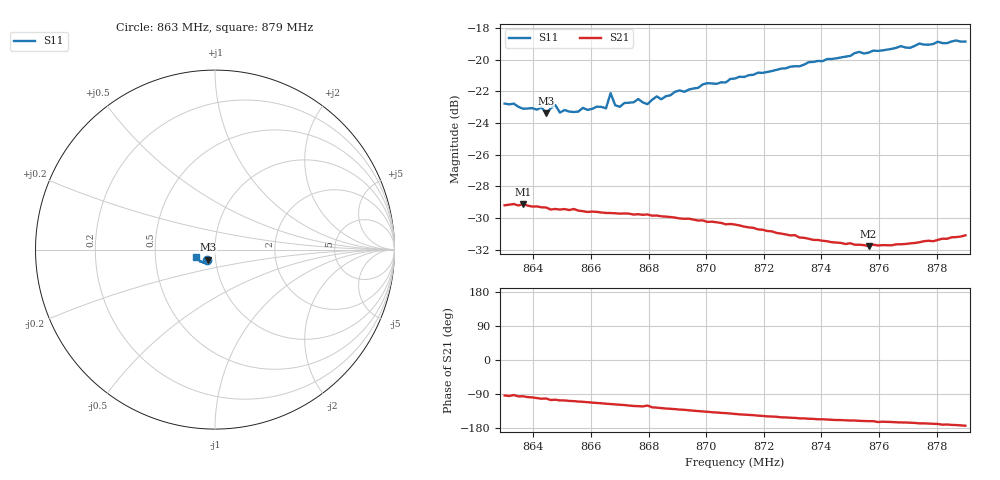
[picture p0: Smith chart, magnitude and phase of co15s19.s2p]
# HZ S RI R 50
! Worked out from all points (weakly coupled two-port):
!   101 points, 863 MHz to 879 MHz, reference 50 ohm
!   highest |S21| = -29.11 dB at 863.64 MHz (marker M1); lowest = -31.8 dB at 875.64 MHz (marker M2)
!   lowest |S11| = -23.4 dB at 864.44 MHz (marker M3), VSWR 1.15, Z = 46 - j5.16 ohm
!   |S11| at or under -10 dB: start of sweep to end of sweep
!   S12 and S22 are empty: the file has one direction only
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8.63e8  -0.0459 -0.0563  -0.00217 -0.0346  0 0  0 0
8.6364e8  -0.0406 -0.057  -0.00346 -0.0349  0 0  0 0
8.6428e8  -0.0416 -0.0571  -0.00722 -0.0334  0 0  0 0
8.6444e8  -0.0384 -0.0558  -0.00687 -0.0335  0 0  0 0
8.6476e8  -0.0441 -0.0568  -0.00862 -0.0327  0 0  0 0
8.6492e8  -0.0382 -0.0563  -0.00966 -0.0322  0 0  0 0
8.6556e8  -0.0379 -0.0571  -0.0112 -0.0314  0 0  0 0
8.6572e8  -0.038 -0.0593  -0.0116 -0.0312  0 0  0 0
8.6652e8  -0.0372 -0.0595  -0.014 -0.0297  0 0  0 0
8.6668e8  -0.047 -0.0627  -0.0145 -0.0294  0 0  0 0
8.6684e8  -0.0375 -0.0612  -0.0149 -0.0292  0 0  0 0
8.67e8  -0.0372 -0.0605  -0.0154 -0.0288  0 0  0 0
8.6764e8  -0.0394 -0.0639  -0.0172 -0.0276  0 0  0 0
8.6796e8  -0.0345 -0.0636  -0.0163 -0.0281  0 0  0 0
8.6828e8  -0.0389 -0.0659  -0.0188 -0.0262  0 0  0 0
8.6844e8  -0.0394 -0.0638  -0.0192 -0.0256  0 0  0 0
8.6908e8  -0.0428 -0.0675  -0.0206 -0.0239  0 0  0 0
8.71e8  -0.0502 -0.0712  -0.0239 -0.0184  0 0  0 0
8.7372e8  -0.0679 -0.0711  -0.0245 -0.0113  0 0  0 0
8.7564e8  -0.0828 -0.065  -0.0244 -0.00822  0 0  0 0
8.7644e8  -0.0903 -0.0594  -0.0249 -0.00731  0 0  0 0
8.79e8  -0.107 -0.0395  -0.0277 -0.0032  0 0  0 0
